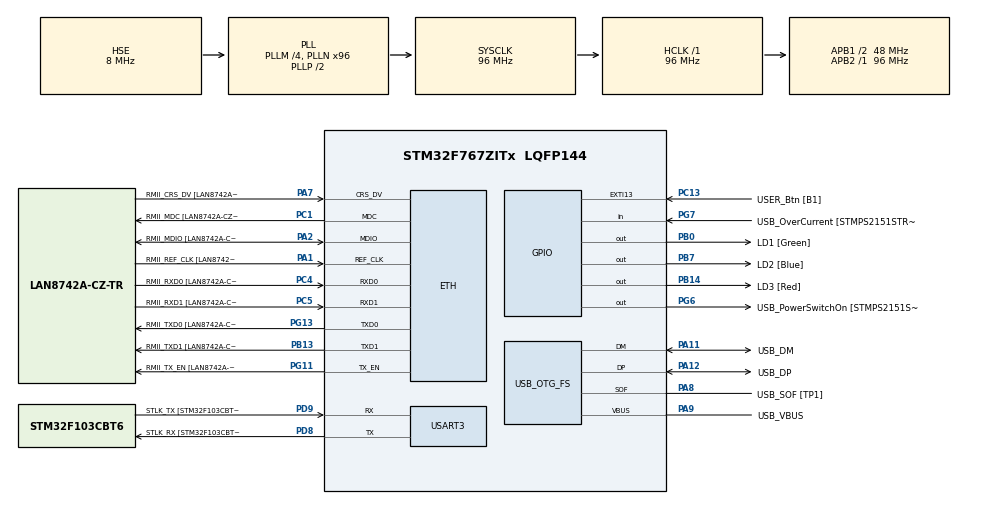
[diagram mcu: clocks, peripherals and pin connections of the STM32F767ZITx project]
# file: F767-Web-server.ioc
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ETH.MediaInterface=ETH_MEDIA_INTERFACE_RMII
ETH.PHY_Name=LAN8742A_PHY_ADDRESS
ETH.PHY_Value=0
ETH.PhyAddress=0
LWIP.LWIP_HTTPD=1
LWIP.LWIP_HTTPD_CGI=1
LWIP.LWIP_HTTPD_MAX_TAG_NAME_LEN=16
LWIP.Version=v2.1.2_Cube
Mcu.Family=STM32F7
Mcu.Name=STM32F767ZITx
Mcu.Package=LQFP144
NVIC.PriorityGroup=NVIC_PRIORITYGROUP_4
PA1.GPIO_Label=RMII_REF_CLK [LAN8742A-CZ-TR_REFCLK0]
PA1.Mode=RMII
PA1.Signal=ETH_REF_CLK
PA10.GPIO_Label=USB_ID
PA10.Signal=USB_OTG_FS_ID
PA11.GPIO_Label=USB_DM
PA11.Mode=Device_Only
PA11.Signal=USB_OTG_FS_DM
PA12.GPIO_Label=USB_DP
PA12.Mode=Device_Only
PA12.Signal=USB_OTG_FS_DP
PA13.GPIO_Label=TMS
PA13.Mode=Serial_Wire
PA13.Signal=SYS_JTMS-SWDIO
PA14.GPIO_Label=TCK
PA14.Mode=Serial_Wire
PA14.Signal=SYS_JTCK-SWCLK
PA2.GPIO_Label=RMII_MDIO [LAN8742A-CZ-TR_MDIO]
PA2.Mode=RMII
PA2.Signal=ETH_MDIO
PA7.GPIO_Label=RMII_CRS_DV [LAN8742A-CZ-TR_CRS_DV]
PA7.Mode=RMII
PA7.Signal=ETH_CRS_DV
PA8.GPIO_Label=USB_SOF [TP1]
PA8.Mode=Activate_SOF_FS
PA8.Signal=USB_OTG_FS_SOF
PA9.GPIO_Label=USB_VBUS
PA9.Mode=Activate_VBUS
PA9.Signal=USB_OTG_FS_VBUS
PB0.GPIO_Label=LD1 [Green]
PB0.Signal=GPIO_Output
PB13.GPIO_Label=RMII_TXD1 [LAN8742A-CZ-TR_TXD1]
PB13.Mode=RMII
PB13.Signal=ETH_TXD1
PB14.GPIO_Label=LD3 [Red]
PB14.GPIO_PuPd=GPIO_PULLUP
PB14.Signal=GPIO_Output
PB3.GPIO_Label=SWO
PB3.Signal=SYS_JTDO-SWO
PB7.GPIO_Label=LD2 [Blue]
PB7.GPIO_PuPd=GPIO_PULLUP
PB7.Signal=GPIO_Output
PC1.GPIO_Label=RMII_MDC [LAN8742A-CZ-TR_MDC]
PC1.Mode=RMII
PC1.Signal=ETH_MDC
PC13.GPIO_Label=USER_Btn [B1]
PC13.Signal=GPXTI13
PC14/OSC32_IN.Mode=LSE-External-Oscillator
PC14/OSC32_IN.Signal=RCC_OSC32_IN
PC15/OSC32_OUT.Mode=LSE-External-Oscillator
PC15/OSC32_OUT.Signal=RCC_OSC32_OUT
PC4.GPIO_Label=RMII_RXD0 [LAN8742A-CZ-TR_RXD0]
PC4.Mode=RMII
PC4.Signal=ETH_RXD0
PC5.GPIO_Label=RMII_RXD1 [LAN8742A-CZ-TR_RXD1]
PC5.Mode=RMII
PC5.Signal=ETH_RXD1
PD8.GPIO_Label=STLK_RX [STM32F103CBT6_PA3]
PD8.Mode=Asynchronous
PD8.Signal=USART3_TX
PD9.GPIO_Label=STLK_TX [STM32F103CBT6_PA2]
PD9.Mode=Asynchronous
PD9.Signal=USART3_RX
PG11.GPIO_Label=RMII_TX_EN [LAN8742A-CZ-TR_TXEN]
PG11.Mode=RMII
PG11.Signal=ETH_TX_EN
PG13.GPIO_Label=RMII_TXD0 [LAN8742A-CZ-TR_TXD0]
PG13.Mode=RMII
PG13.Signal=ETH_TXD0
PG6.GPIO_Label=USB_PowerSwitchOn [STMPS2151STR_EN]
PG6.Signal=GPIO_Output
PG7.GPIO_Label=USB_OverCurrent [STMPS2151STR_FAULT]
PG7.Signal=GPIO_Input
PH0/OSC_IN.GPIO_Label=MCO [STM32F103CBT6_PA8]
PH0/OSC_IN.Mode=HSE-External-Clock-Source
PH0/OSC_IN.Signal=RCC_OSC_IN
PH1/OSC_OUT.Mode=HSE-External-Clock-Source
PH1/OSC_OUT.Signal=RCC_OSC_OUT
ProjectManager.HeapSize=0x200
ProjectManager.StackSize=0x400
ProjectManager.TargetToolchain=STM32CubeIDE
RCC.48MHZClocksFreq_Value=24000000
RCC.AHBFreq_Value=96000000
RCC.APB1CLKDivider=RCC_HCLK_DIV2
RCC.APB1Freq_Value=48000000
RCC.APB1TimFreq_Value=96000000
RCC.APB2Freq_Value=96000000
RCC.APB2TimFreq_Value=96000000
RCC.CortexFreq_Value=96000000
RCC.HCLKFreq_Value=96000000
RCC.HSE_VALUE=8000000
RCC.HSI_VALUE=16000000
RCC.PLLM=4
RCC.PLLMUL=RCC_PLL_MUL9
RCC.PLLN=96
RCC.PLLQ=4
RCC.PRESCALERUSB=RCC_USBCLKSOURCE_PLL_DIV1_5
RCC.SYSCLKFreq_VALUE=96000000
RCC.SYSCLKSource=RCC_SYSCLKSOURCE_PLLCLK
RCC.SYSCLKSourceVirtual=RCC_SYSCLKSOURCE_PLLCLK
RCC.USBFreq_Value=48000000
RCC.VCOOutputFreq_Value=192000000
USART3.VirtualMode-Asynchronous=VM_ASYNC
USB_OTG_FS.VirtualMode=Device_Only
VP_LWIP_VS_Enabled.Mode=Enabled
board=NUCLEO-F767ZI

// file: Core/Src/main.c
/* USER CODE BEGIN Header */
/**
  ******************************************************************************
  * @file           : main.c
  * @brief          : Main program body
  ******************************************************************************
  * @attention
  *
  * <h2><center>&copy; Copyright (c) 2020 STMicroelectronics.
  * All rights reserved.</center></h2>
  *
  * This software component is licensed by ST under BSD 3-Clause license,
  * the "License"; You may not use this file except in compliance with the
  * License. You may obtain a copy of the License at:
  *                        opensource.org/licenses/BSD-3-Clause
  *
  ******************************************************************************
  */
/* USER CODE END Header */

#include "main.h"
#include "lwip.h"

/* USER CODE BEGIN Includes */

                        // including httpd.h [- HTTPd #1 -]
                        #include "lwip/apps/httpd.h"

                        // we include String.h for the strcmp() function [= CGI #1 =]
                        #include <String.h>

/* USER CODE END Includes */

UART_HandleTypeDef huart3;

PCD_HandleTypeDef hpcd_USB_OTG_FS;

/* USER CODE BEGIN PV */

                        // just declaring the function for the compiler [= CGI #2 =]
                        const char* LedCGIhandler(int iIndex, int iNumParams, char *pcParam[],
                        char *pcValue[]);

                        // in our HTML file <form method="get" action="/leds.cgi"> [= CGI #3 =]
                        const tCGI LedCGI = { "/leds.cgi", LedCGIhandler };

                        // [= CGI #4 =]
                        tCGI theCGItable[1];

/* USER CODE END PV */

void SystemClock_Config(void);
static void MX_GPIO_Init(void);
static void MX_USART3_UART_Init(void);
static void MX_USB_OTG_FS_PCD_Init(void);

/* USER CODE BEGIN 0 */

                        // the actual function for handling CGI [= CGI #5 =]
                        const char* LedCGIhandler(int iIndex, int iNumParams, char *pcParam[],
                        char *pcValue[]) {

                            uint32_t i = 0;

                            if (iIndex == 0) {

                                //turning the LED lights off
                                HAL_GPIO_WritePin(LD2_GPIO_Port, LD2_Pin, GPIO_PIN_RESET);
                                HAL_GPIO_WritePin(LD3_GPIO_Port, LD3_Pin, GPIO_PIN_RESET);

                            }

                            for (i = 0; i < iNumParams; i++) {

                                if (strcmp(pcParam[i], "led") == 0)

                                {

                                    if (strcmp(pcValue[i], "1") == 0) {
                                        HAL_GPIO_WritePin(LD3_GPIO_Port, LD3_Pin, GPIO_PIN_SET);
                                    }

                                    else if (strcmp(pcValue[i], "2") == 0) {

                                        HAL_GPIO_WritePin(LD2_GPIO_Port, LD2_Pin, GPIO_PIN_SET);

                                    }

                                }

                            }

                            // the extension .shtml for SSI to work
                            return "/index.html";

                        } // END [= CGI #5 =]

                        // function to initialize CGI [= CGI #6 =]
                        void myCGIinit(void) {
                            //add LED control CGI to the table
                            theCGItable[0] = LedCGI;
                            //give the table to the HTTP server
                            http_set_cgi_handlers(theCGItable, 1);
                        } // END [= CGI #6 =]

/* USER CODE END 0 */

int main(void)
{

  /* MCU Configuration--------------------------------------------------------*/

  /* Reset of all peripherals, Initializes the Flash interface and the Systick. */
  HAL_Init();

  /* Configure the system clock */
  SystemClock_Config();

  /* Initialize all configured peripherals */
  MX_GPIO_Init();
  MX_USART3_UART_Init();
  MX_USB_OTG_FS_PCD_Init();
  MX_LWIP_Init();
  /* USER CODE BEGIN 2 */

                            // initializing the HTTPd [-HTTPd #2-]
                            httpd_init();

                            // initializing CGI  [= CGI #7 =]
                            myCGIinit();

  /* USER CODE END 2 */

  /* Infinite loop */
  /* USER CODE BEGIN WHILE */
                            while (1) {

                                // starting the LWIP process [-HTTPd #3-]
                                MX_LWIP_Process();

    /* USER CODE END WHILE */

                            }
}

void SystemClock_Config(void)
{
  RCC_OscInitTypeDef RCC_OscInitStruct = {0};
  RCC_ClkInitTypeDef RCC_ClkInitStruct = {0};
  RCC_PeriphCLKInitTypeDef PeriphClkInitStruct = {0};

  /** Configure LSE Drive Capability
  */
  HAL_PWR_EnableBkUpAccess();
  /** Configure the main internal regulator output voltage
  */
  __HAL_RCC_PWR_CLK_ENABLE();
  __HAL_PWR_VOLTAGESCALING_CONFIG(PWR_REGULATOR_VOLTAGE_SCALE3);
  /** Initializes the CPU, AHB and APB busses clocks
  */
  RCC_OscInitStruct.OscillatorType = RCC_OSCILLATORTYPE_HSE;
  RCC_OscInitStruct.HSEState = RCC_HSE_BYPASS;
  RCC_OscInitStruct.PLL.PLLState = RCC_PLL_ON;
  RCC_OscInitStruct.PLL.PLLSource = RCC_PLLSOURCE_HSE;
  RCC_OscInitStruct.PLL.PLLM = 4;
  RCC_OscInitStruct.PLL.PLLN = 96;
  RCC_OscInitStruct.PLL.PLLP = RCC_PLLP_DIV2;
  RCC_OscInitStruct.PLL.PLLQ = 4;
  if (HAL_RCC_OscConfig(&RCC_OscInitStruct) != HAL_OK)
  {
    Error_Handler();
  }
  /** Activate the Over-Drive mode
  */
  if (HAL_PWREx_EnableOverDrive() != HAL_OK)
  {
    Error_Handler();
  }
  /** Initializes the CPU, AHB and APB busses clocks
  */
  RCC_ClkInitStruct.ClockType = RCC_CLOCKTYPE_HCLK|RCC_CLOCKTYPE_SYSCLK
                              |RCC_CLOCKTYPE_PCLK1|RCC_CLOCKTYPE_PCLK2;
  RCC_ClkInitStruct.SYSCLKSource = RCC_SYSCLKSOURCE_PLLCLK;
  RCC_ClkInitStruct.AHBCLKDivider = RCC_SYSCLK_DIV1;
  RCC_ClkInitStruct.APB1CLKDivider = RCC_HCLK_DIV2;
  RCC_ClkInitStruct.APB2CLKDivider = RCC_HCLK_DIV1;

  if (HAL_RCC_ClockConfig(&RCC_ClkInitStruct, FLASH_LATENCY_3) != HAL_OK)
  {
    Error_Handler();
  }
  PeriphClkInitStruct.PeriphClockSelection = RCC_PERIPHCLK_USART3|RCC_PERIPHCLK_CLK48;
  PeriphClkInitStruct.Usart3ClockSelection = RCC_USART3CLKSOURCE_PCLK1;
  PeriphClkInitStruct.Clk48ClockSelection = RCC_CLK48SOURCE_PLL;
  if (HAL_RCCEx_PeriphCLKConfig(&PeriphClkInitStruct) != HAL_OK)
  {
    Error_Handler();
  }
}

static void MX_USART3_UART_Init(void)
{

  huart3.Instance = USART3;
  huart3.Init.BaudRate = 115200;
  huart3.Init.WordLength = UART_WORDLENGTH_8B;
  huart3.Init.StopBits = UART_STOPBITS_1;
  huart3.Init.Parity = UART_PARITY_NONE;
  huart3.Init.Mode = UART_MODE_TX_RX;
  huart3.Init.HwFlowCtl = UART_HWCONTROL_NONE;
  huart3.Init.OverSampling = UART_OVERSAMPLING_16;
  huart3.Init.OneBitSampling = UART_ONE_BIT_SAMPLE_DISABLE;
  huart3.AdvancedInit.AdvFeatureInit = UART_ADVFEATURE_NO_INIT;
  if (HAL_UART_Init(&huart3) != HAL_OK)
  {
    Error_Handler();
  }

}

static void MX_USB_OTG_FS_PCD_Init(void)
{

  hpcd_USB_OTG_FS.Instance = USB_OTG_FS;
  hpcd_USB_OTG_FS.Init.dev_endpoints = 6;
  hpcd_USB_OTG_FS.Init.speed = PCD_SPEED_FULL;
  hpcd_USB_OTG_FS.Init.dma_enable = DISABLE;
  hpcd_USB_OTG_FS.Init.phy_itface = PCD_PHY_EMBEDDED;
  hpcd_USB_OTG_FS.Init.Sof_enable = ENABLE;
  hpcd_USB_OTG_FS.Init.low_power_enable = DISABLE;
  hpcd_USB_OTG_FS.Init.lpm_enable = DISABLE;
  hpcd_USB_OTG_FS.Init.vbus_sensing_enable = ENABLE;
  hpcd_USB_OTG_FS.Init.use_dedicated_ep1 = DISABLE;
  if (HAL_PCD_Init(&hpcd_USB_OTG_FS) != HAL_OK)
  {
    Error_Handler();
  }

}

static void MX_GPIO_Init(void)
{
  GPIO_InitTypeDef GPIO_InitStruct = {0};

  /* GPIO Ports Clock Enable */
  __HAL_RCC_GPIOC_CLK_ENABLE();
  __HAL_RCC_GPIOH_CLK_ENABLE();
  __HAL_RCC_GPIOA_CLK_ENABLE();
  __HAL_RCC_GPIOB_CLK_ENABLE();
  __HAL_RCC_GPIOD_CLK_ENABLE();
  __HAL_RCC_GPIOG_CLK_ENABLE();

  /*Configure GPIO pin Output Level */
  HAL_GPIO_WritePin(GPIOB, LD1_Pin|LD3_Pin|LD2_Pin, GPIO_PIN_RESET);

  /*Configure GPIO pin Output Level */
  HAL_GPIO_WritePin(USB_PowerSwitchOn_GPIO_Port, USB_PowerSwitchOn_Pin, GPIO_PIN_RESET);

  /*Configure GPIO pin : USER_Btn_Pin */
  GPIO_InitStruct.Pin = USER_Btn_Pin;
  GPIO_InitStruct.Mode = GPIO_MODE_IT_RISING;
  GPIO_InitStruct.Pull = GPIO_NOPULL;
  HAL_GPIO_Init(USER_Btn_GPIO_Port, &GPIO_InitStruct);

  /*Configure GPIO pin : LD1_Pin */
  GPIO_InitStruct.Pin = LD1_Pin;
  GPIO_InitStruct.Mode = GPIO_MODE_OUTPUT_PP;
  GPIO_InitStruct.Pull = GPIO_NOPULL;
  GPIO_InitStruct.Speed = GPIO_SPEED_FREQ_LOW;
  HAL_GPIO_Init(LD1_GPIO_Port, &GPIO_InitStruct);

  /*Configure GPIO pins : LD3_Pin LD2_Pin */
  GPIO_InitStruct.Pin = LD3_Pin|LD2_Pin;
  GPIO_InitStruct.Mode = GPIO_MODE_OUTPUT_PP;
  GPIO_InitStruct.Pull = GPIO_PULLUP;
  GPIO_InitStruct.Speed = GPIO_SPEED_FREQ_LOW;
  HAL_GPIO_Init(GPIOB, &GPIO_InitStruct);

  /*Configure GPIO pin : USB_PowerSwitchOn_Pin */
  GPIO_InitStruct.Pin = USB_PowerSwitchOn_Pin;
  GPIO_InitStruct.Mode = GPIO_MODE_OUTPUT_PP;
  GPIO_InitStruct.Pull = GPIO_NOPULL;
  GPIO_InitStruct.Speed = GPIO_SPEED_FREQ_LOW;
  HAL_GPIO_Init(USB_PowerSwitchOn_GPIO_Port, &GPIO_InitStruct);

  /*Configure GPIO pin : USB_OverCurrent_Pin */
  GPIO_InitStruct.Pin = USB_OverCurrent_Pin;
  GPIO_InitStruct.Mode = GPIO_MODE_INPUT;
  GPIO_InitStruct.Pull = GPIO_NOPULL;
  HAL_GPIO_Init(USB_OverCurrent_GPIO_Port, &GPIO_InitStruct);

}

void Error_Handler(void)
{
}

/************************ (C) COPYRIGHT STMicroelectronics *****END OF FILE****/
